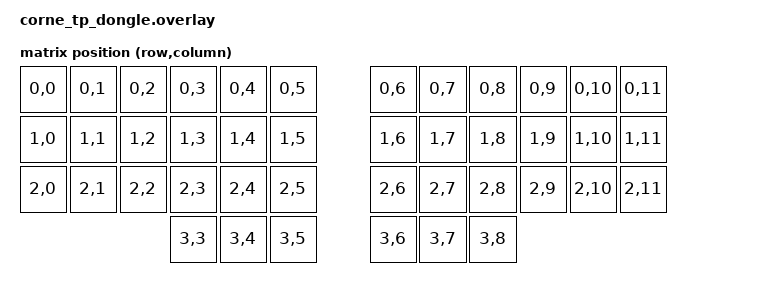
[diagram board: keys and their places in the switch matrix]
#include <dt-bindings/zmk/matrix_transform.h>

/ {
    chosen {
        zmk,kscan = &kscan_mock;
        zmk,matrix-transform = &default_transform;
    };

    kscan_mock: kscan_mock {
        compatible = "zmk,kscan-mock";
        rows = <4>;
        columns = <12>;
        events = <0x00636300>;
    };

    default_transform: keymap_transform_0 {
        compatible = "zmk,matrix-transform";
        columns = <12>;
        rows = <4>;
        map = <
RC(0,0) RC(0,1) RC(0,2) RC(0,3) RC(0,4) RC(0,5)  RC(0,6) RC(0,7) RC(0,8) RC(0,9) RC(0,10) RC(0,11)
RC(1,0) RC(1,1) RC(1,2) RC(1,3) RC(1,4) RC(1,5)  RC(1,6) RC(1,7) RC(1,8) RC(1,9) RC(1,10) RC(1,11)
RC(2,0) RC(2,1) RC(2,2) RC(2,3) RC(2,4) RC(2,5)  RC(2,6) RC(2,7) RC(2,8) RC(2,9) RC(2,10) RC(2,11)
                        RC(3,3) RC(3,4) RC(3,5)  RC(3,6) RC(3,7) RC(3,8)
        >;
    };

    // Split input transport - receives forwarded mouse events from peripheral
    input_split: input_split {
        compatible = "zmk,input-split";
        status = "okay";
    };

    // Central-side input listener for forwarded peripheral mouse events
    split_central_listener: split_central_listener {
        compatible = "zmk,input-listener-split-central";
        status = "okay";
        device = <&input_split>;
    };
};
